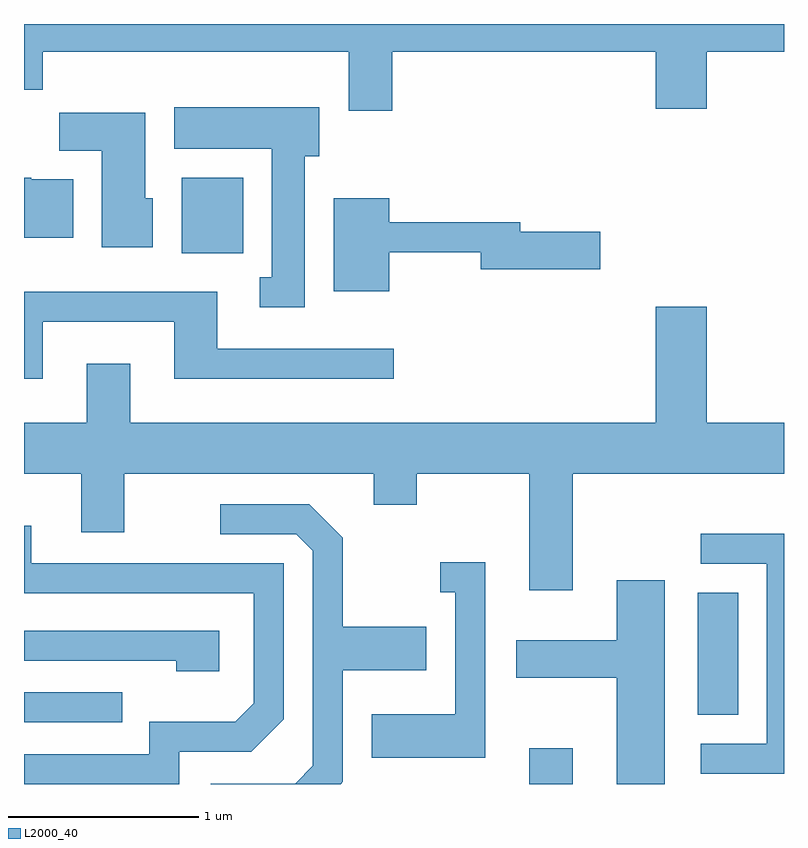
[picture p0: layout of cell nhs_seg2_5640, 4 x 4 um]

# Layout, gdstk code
import gdstk
lib = gdstk.Library(unit=1e-6, precision=1e-09)
def R(c, l, rs):  # rectangles x0, y0, x1, y1
    for r in rs: c.add(gdstk.rectangle(r[:2], r[2:], *l))
def P(c, l, *ps):  # polygons
    for p in ps: c.add(gdstk.Polygon(p, *l))
L2000_40 = (2000, 40)

nhs_seg2_5640 = lib.new_cell('nhs_seg2_5640')
R(nhs_seg2_5640, L2000_40, [(354.271,1037.802,354.499,1037.989), (351.611,1038.126,352.128,1038.284), (355.156,1038.166,355.369,1038.809), (352.441,1040.596,352.764,1040.994)])
P(nhs_seg2_5640, L2000_40, [(353.549,1041.656),(354.936,1041.656),(354.936,1041.356),(355.204,1041.356),(355.204,1041.656),(355.611,1041.656),(355.611,1041.802),(351.611,1041.802),(351.611,1041.456),(351.709,1041.456),(351.709,1041.656),(353.321,1041.656),(353.321,1041.346),(353.549,1041.346)],
  [(353.089,1041.106),(353.164,1041.106),(353.164,1041.364),(352.401,1041.364),(352.401,1041.146),(352.916,1041.146),(352.916,1040.469),(352.853,1040.469),(352.853,1040.311),(353.089,1040.311)],
  [(352.289,1040.884),(352.249,1040.884),(352.249,1041.334),(351.796,1041.334),(351.796,1041.136),(352.021,1041.136),(352.021,1040.626),(352.289,1040.626)],
  [(351.869,1040.984),(351.65,1040.984),(351.65,1040.994),(351.611,1040.994),(351.611,1040.676),(351.869,1040.676)],
  [(353.534,1040.601),(354.016,1040.601),(354.016,1040.511),(354.644,1040.511),(354.644,1040.709),(354.224,1040.709),(354.224,1040.759),(353.534,1040.759),(353.534,1040.884),(353.241,1040.884),(353.241,1040.396),(353.534,1040.396)],
  [(351.709,1040.236),(352.401,1040.236),(352.401,1039.936),(353.558,1039.936),(353.558,1040.094),(352.629,1040.094),(352.629,1040.394),(351.611,1040.394),(351.611,1039.936),(351.709,1039.936)],
  [(354.499,1039.436),(355.611,1039.436),(355.611,1039.704),(355.204,1039.704),(355.204,1040.314),(354.936,1040.314),(354.936,1039.704),(352.169,1039.704),(352.169,1040.014),(351.941,1040.014),(351.941,1039.704),(351.611,1039.704),(351.611,1039.436),(351.911,1039.436),(351.911,1039.126),(352.139,1039.126),(352.139,1039.436),(353.451,1039.436),(353.451,1039.271),(353.679,1039.271),(353.679,1039.436),(354.271,1039.436),(354.271,1038.821),(354.499,1038.821)],
  [(353.289,1037.814),(353.289,1038.401),(353.729,1038.401),(353.729,1038.629),(353.289,1038.629),(353.289,1039.097),(353.112,1039.274),(352.643,1039.274),(352.643,1039.116),(353.044,1039.116),(353.131,1039.029),(353.131,1037.897),(353.039,1037.804),(352.593,1037.804),(352.593,1037.802),(353.277,1037.802)],
  [(352.429,1037.971),(352.807,1037.971),(352.979,1038.144),(352.979,1038.964),(351.649,1038.964),(351.649,1039.162),(351.611,1039.162),(351.611,1038.806),(352.821,1038.806),(352.821,1038.227),(352.724,1038.129),(352.271,1038.129),(352.271,1037.959),(351.611,1037.959),(351.611,1037.802),(352.429,1037.802)],
  [(355.611,1039.119),(355.173,1039.119),(355.173,1038.961),(355.521,1038.961),(355.521,1038.014),(355.173,1038.014),(355.173,1037.856),(355.611,1037.856)],
  [(354.039,1038.969),(353.803,1038.969),(353.803,1038.811),(353.881,1038.811),(353.881,1038.169),(353.441,1038.169),(353.441,1037.941),(354.039,1037.941)],
  [(354.984,1038.874),(354.731,1038.874),(354.731,1038.559),(354.201,1038.559),(354.201,1038.361),(354.731,1038.361),(354.731,1037.802),(354.984,1037.802)],
  [(352.639,1038.609),(351.611,1038.609),(351.611,1038.451),(352.411,1038.451),(352.411,1038.396),(352.639,1038.396)])

lib.write_gds('nhs_seg2_5640.gds')
